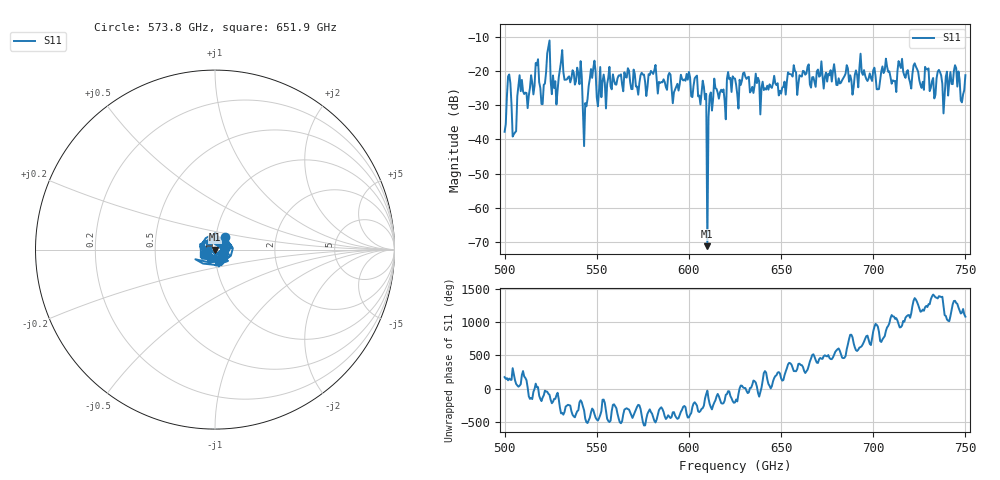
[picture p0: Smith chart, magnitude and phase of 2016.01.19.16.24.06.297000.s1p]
!Created with skrf (http://scikit-rf.org).
# GHz S RI R 50.0
!freq ReS11 ImS11
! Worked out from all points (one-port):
!   401 points, 500 GHz to 750 GHz, reference 50 ohm
!   lowest |S11| = -71.1 dB at 610 GHz (marker M1), VSWR 1.00, Z = 50 - j0.0149 ohm
!   |S11| at or under -10 dB: start of sweep to end of sweep
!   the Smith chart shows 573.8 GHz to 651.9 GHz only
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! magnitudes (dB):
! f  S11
! 500 GHz  -37.8
! 502.5 GHz  -21.1
! 505 GHz  -38.5
! 508.1 GHz  -21.3
! 511.9 GHz  -26.5
! 517.5 GHz  -18.4
! 520.6 GHz  -29.7
! 523.8 GHz  -13.0
! 528.1 GHz  -29.8
! 531.2 GHz  -13.9
! 540.6 GHz  -23.9
! 543.8 GHz  -29.4
! 548.1 GHz  -19.2
! 551.2 GHz  -25.6
! 562.5 GHz  -21.4
! 580.6 GHz  -20.9
! 593.8 GHz  -23.8
! 608.1 GHz  -24.7
! 608.8 GHz  -28.3
! 610 GHz  -71.1
! 611.2 GHz  -27.3
! 612.5 GHz  -31.6
! 625 GHz  -22.3
! 650 GHz  -26.7
! 656.2 GHz  -21.7
! 687.5 GHz  -21.3
! 718.8 GHz  -19.8
! 750 GHz  -21.3
